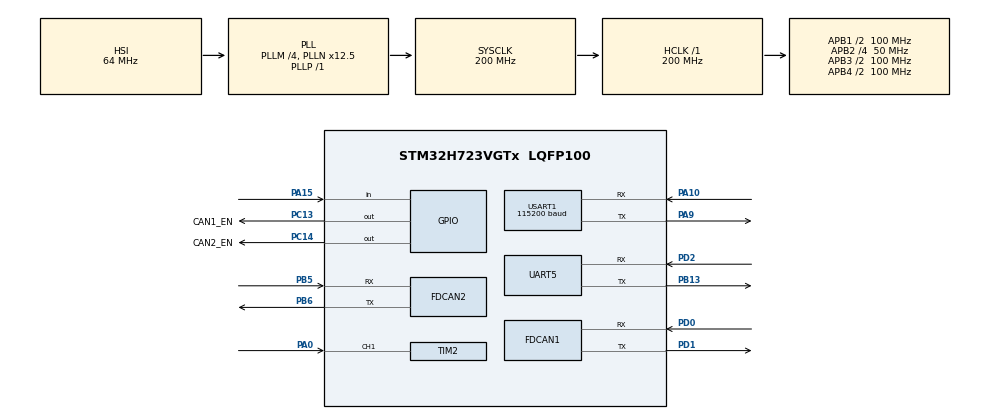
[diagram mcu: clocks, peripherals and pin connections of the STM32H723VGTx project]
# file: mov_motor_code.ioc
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CORTEX_M7.default_mode_Activation=1
Dma.Request0=USART1_RX
Dma.Request1=UART5_RX
Dma.UART5_RX.1.Direction=DMA_PERIPH_TO_MEMORY
Dma.UART5_RX.1.EventEnable=DISABLE
Dma.UART5_RX.1.FIFOMode=DMA_FIFOMODE_DISABLE
Dma.UART5_RX.1.Instance=DMA1_Stream1
Dma.UART5_RX.1.MemDataAlignment=DMA_MDATAALIGN_BYTE
Dma.UART5_RX.1.MemInc=DMA_MINC_ENABLE
Dma.UART5_RX.1.Mode=DMA_CIRCULAR
Dma.UART5_RX.1.PeriphDataAlignment=DMA_PDATAALIGN_BYTE
Dma.UART5_RX.1.PeriphInc=DMA_PINC_DISABLE
Dma.UART5_RX.1.Polarity=HAL_DMAMUX_REQ_GEN_RISING
Dma.UART5_RX.1.Priority=DMA_PRIORITY_LOW
Dma.UART5_RX.1.RequestNumber=1
Dma.UART5_RX.1.SignalID=NONE
Dma.UART5_RX.1.SyncEnable=DISABLE
Dma.UART5_RX.1.SyncPolarity=HAL_DMAMUX_SYNC_NO_EVENT
Dma.UART5_RX.1.SyncRequestNumber=1
Dma.UART5_RX.1.SyncSignalID=NONE
Dma.USART1_RX.0.Direction=DMA_PERIPH_TO_MEMORY
Dma.USART1_RX.0.EventEnable=DISABLE
Dma.USART1_RX.0.FIFOMode=DMA_FIFOMODE_DISABLE
Dma.USART1_RX.0.Instance=DMA1_Stream0
Dma.USART1_RX.0.MemDataAlignment=DMA_MDATAALIGN_BYTE
Dma.USART1_RX.0.MemInc=DMA_MINC_ENABLE
Dma.USART1_RX.0.Mode=DMA_CIRCULAR
Dma.USART1_RX.0.PeriphDataAlignment=DMA_PDATAALIGN_BYTE
Dma.USART1_RX.0.PeriphInc=DMA_PINC_DISABLE
Dma.USART1_RX.0.Polarity=HAL_DMAMUX_REQ_GEN_RISING
Dma.USART1_RX.0.Priority=DMA_PRIORITY_LOW
Dma.USART1_RX.0.RequestNumber=1
Dma.USART1_RX.0.SignalID=NONE
Dma.USART1_RX.0.SyncEnable=DISABLE
Dma.USART1_RX.0.SyncPolarity=HAL_DMAMUX_SYNC_NO_EVENT
Dma.USART1_RX.0.SyncRequestNumber=1
Dma.USART1_RX.0.SyncSignalID=NONE
FDCAN1.AutoRetransmission=ENABLE
FDCAN1.CalculateBaudRateNominal=500000
FDCAN1.CalculateTimeBitNominal=2000
FDCAN1.CalculateTimeQuantumNominal=100.0
FDCAN1.DataSyncJumpWidth=4
FDCAN1.DataTimeSeg1=2
FDCAN1.NominalPrescaler=10
FDCAN1.NominalSyncJumpWidth=1
FDCAN1.NominalTimeSeg1=15
FDCAN1.NominalTimeSeg2=4
FDCAN1.RxFifo0ElmtsNbr=3
FDCAN1.TxFifoQueueElmtsNbr=32
FDCAN2.AutoRetransmission=ENABLE
FDCAN2.CalculateBaudRateNominal=1000000
FDCAN2.CalculateTimeBitNominal=1000
FDCAN2.CalculateTimeQuantumNominal=50.0
FDCAN2.DataSyncJumpWidth=4
FDCAN2.MessageRAMOffset=1024
FDCAN2.NominalPrescaler=5
FDCAN2.NominalTimeSeg1=15
FDCAN2.NominalTimeSeg2=4
FDCAN2.RxFifo0ElmtsNbr=32
FDCAN2.TxFifoQueueElmtsNbr=32
Mcu.Family=STM32H7
Mcu.Name=STM32H723VGTx
Mcu.Package=LQFP100
NVIC.DMA1_Stream0_IRQn=true\:0\:0\:false\:false\:true\:false\:true\:true
NVIC.DMA1_Stream1_IRQn=true\:0\:0\:false\:false\:true\:false\:true\:true
NVIC.FDCAN1_IT0_IRQn=true\:0\:0\:false\:false\:true\:true\:true\:true
NVIC.FDCAN1_IT1_IRQn=true\:0\:0\:false\:false\:true\:true\:true\:true
NVIC.FDCAN2_IT0_IRQn=true\:0\:0\:true\:false\:true\:true\:true\:true
NVIC.PriorityGroup=NVIC_PRIORITYGROUP_4
NVIC.TIM15_IRQn=true\:0\:0\:false\:false\:true\:true\:true\:true
NVIC.TIM6_DAC_IRQn=true\:0\:0\:true\:false\:true\:true\:true\:true
NVIC.UART5_IRQn=true\:0\:0\:false\:false\:true\:true\:true\:true
NVIC.USART1_IRQn=true\:0\:0\:false\:false\:true\:true\:true\:true
PA0.Signal=S_TIM2_CH1_ETR
PA10.Mode=Asynchronous
PA10.Signal=USART1_RX
PA13(JTMS/SWDIO).Mode=Serial_Wire
PA13(JTMS/SWDIO).Signal=DEBUG_JTMS-SWDIO
PA14(JTCK/SWCLK).Mode=Serial_Wire
PA14(JTCK/SWCLK).Signal=DEBUG_JTCK-SWCLK
PA15(JTDI).GPIO_PuPd=GPIO_PULLUP
PA15(JTDI).Signal=GPIO_Input
PA9.Mode=Asynchronous
PA9.Signal=USART1_TX
PB13.Mode=Asynchronous
PB13.Signal=UART5_TX
PB5.Mode=FDCAN_Activate
PB5.Signal=FDCAN2_RX
PB6.Mode=FDCAN_Activate
PB6.Signal=FDCAN2_TX
PC13.GPIO_Label=CAN1_EN
PC13.Signal=GPIO_Output
PC14-OSC32_IN.GPIO_Label=CAN2_EN
PC14-OSC32_IN.Signal=GPIO_Output
PD0.Mode=FDCAN_Activate
PD0.Signal=FDCAN1_RX
PD1.Mode=FDCAN_Activate
PD1.Signal=FDCAN1_TX
PD2.Mode=Asynchronous
PD2.Signal=UART5_RX
PH0-OSC_IN.Mode=HSE-External-Oscillator
PH0-OSC_IN.Signal=RCC_OSC_IN
PH1-OSC_OUT.Mode=HSE-External-Oscillator
PH1-OSC_OUT.Signal=RCC_OSC_OUT
ProjectManager.HeapSize=0x200
ProjectManager.StackSize=0x400
ProjectManager.TargetToolchain=STM32CubeIDE
RCC.ADCFreq_Value=129000000
RCC.APB1Freq_Value=100000000
RCC.APB2Freq_Value=50000000
RCC.APB3Freq_Value=100000000
RCC.APB4Freq_Value=100000000
RCC.CortexFreq_Value=200000000
RCC.D1PPRE=RCC_APB3_DIV2
RCC.D2PPRE1=RCC_APB1_DIV2
RCC.D2PPRE2=RCC_APB2_DIV4
RCC.D3PPRE=RCC_APB4_DIV2
RCC.DIVM1=4
RCC.DIVN1=12
RCC.DIVP1=1
RCC.HCLKFreq_Value=200000000
RCC.PLL2FRACN=0
RCC.PLL3FRACN=0
RCC.PLLFRACN=4096
RCC.SYSCLKFreq_VALUE=200000000
RCC.SYSCLKSource=RCC_SYSCLKSOURCE_PLLCLK
RCC.USBFreq_Value=100000000
SH.S_TIM2_CH1_ETR.0=TIM2_CH1,Input_Capture1_from_TI1
TIM15.AutoReloadPreload=TIM_AUTORELOAD_PRELOAD_ENABLE
TIM15.Period=999
TIM15.Prescaler=4999
TIM2.AutoReloadPreload=TIM_AUTORELOAD_PRELOAD_ENABLE
TIM2.Channel-Input_Capture1_from_TI1=TIM_CHANNEL_1
TIM2.Period=99
TIM2.Prescaler=999
TIM6.AutoReloadPreload=TIM_AUTORELOAD_PRELOAD_ENABLE
TIM6.Period=99
TIM6.Prescaler=9999
USART1.BaudRate=115200
USART1.Parity=PARITY_NONE
USART1.RxPinLevelInvertParam=ADVFEATURE_RXINV_ENABLE
USART1.StopBits=STOPBITS_1
USART1.VirtualMode-Asynchronous=VM_ASYNC
USART1.WordLength=WORDLENGTH_8B
VP_MEMORYMAP_VS_MEMORYMAP.Mode=CurAppReg
VP_TIM15_VS_ClockSourceINT.Mode=Internal
VP_TIM2_VS_ClockSourceINT.Mode=Internal
VP_TIM6_VS_ClockSourceINT.Mode=Enable_Timer
board=custom

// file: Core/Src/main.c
/* USER CODE BEGIN Header */
/**
  ******************************************************************************
  * @file           : main.c
  * @brief          : Main program body
  ******************************************************************************
  * @attention
  *
  * Copyright (c) 2026 STMicroelectronics.
  * All rights reserved.
  *
  * This software is licensed under terms that can be found in the LICENSE file
  * in the root directory of this software component.
  * If no LICENSE file comes with this software, it is provided AS-IS.
  *
  ******************************************************************************
  */
/* USER CODE END Header */
#include "main.h"
#include "dma.h"
#include "fdcan.h"
#include "tim.h"
#include "usart.h"
#include "gpio.h"

/* USER CODE BEGIN Includes */
#include "key.h"
#include "motor.h"
#include "can.h"
#include "servo.h"
#include <stdio.h>
#include <string.h>
/* USER CODE END Includes */

/* USER CODE BEGIN PV */
static uint8_t current = 0;
static uint8_t last_key_state = 0; // 用于存储上一次按键状态，实现边沿检测

extern reporter Motor_Reporter_Data;
extern uint8_t query_id;
extern reporter Motor_Reporter_Cache[4];
/* USER CODE END PV */

void SystemClock_Config(void);
static void MPU_Config(void);

int main(void) {

  /* MPU Configuration--------------------------------------------------------*/
    MPU_Config();

    /* MCU Configuration--------------------------------------------------------*/

    /* Reset of all peripherals, Initializes the Flash interface and the Systick. */
    HAL_Init();

    /* Configure the system clock */
    SystemClock_Config();

    /* Initialize all configured peripherals */
    MX_GPIO_Init();
    MX_DMA_Init();
    MX_FDCAN1_Init();
    MX_USART1_UART_Init();
    MX_TIM2_Init();
    MX_TIM6_Init();
    MX_UART5_Init();
    MX_FDCAN2_Init();
    MX_TIM15_Init();
    /* USER CODE BEGIN 2 */
    // Motor_Driver_Init();
    // memset(Motor_Reporter_Cache, 0, sizeof(Motor_Reporter_Cache));

    can_bus_init(&hfdcan2);

    static rs06_t servo;
    rs06_init(&servo, &hfdcan2, 0x01, RS06_DEFAULT_HOST_ID);
    // rs06_zeroing_and_save(&servo);
    rs06_pp_goto(&servo, 6.0f, 2.0f, 10.0f);

    /* USER CODE END 2 */

    /* Infinite loop */
    /* USER CODE BEGIN WHILE */
    while(1) {
      // uint8_t key_now = Key_Scan();
      // if (key_now == 1 && last_key_state == 0)
      // {
      //     current = !current;
      // }
      // last_key_state = key_now;
      // if(current == 0)
      // {
      //   Motor_Speed_Control_Smooth(0,0x01);

      // }
      // else
      // {
      //    Motor_Speed_Control_Smooth(100,0x01);

      // }

      /* USER CODE END WHILE */

    }
}

void SystemClock_Config(void) {
    RCC_OscInitTypeDef RCC_OscInitStruct = { 0 };
    RCC_ClkInitTypeDef RCC_ClkInitStruct = { 0 };

    /** Supply configuration update enable
    */
    HAL_PWREx_ConfigSupply(PWR_LDO_SUPPLY);

    /** Configure the main internal regulator output voltage
    */
    __HAL_PWR_VOLTAGESCALING_CONFIG(PWR_REGULATOR_VOLTAGE_SCALE1);

    while(!__HAL_PWR_GET_FLAG(PWR_FLAG_VOSRDY)) { }

    /** Initializes the RCC Oscillators according to the specified parameters
    * in the RCC_OscInitTypeDef structure.
    */
    RCC_OscInitStruct.OscillatorType = RCC_OSCILLATORTYPE_HSI;
    RCC_OscInitStruct.HSIState = RCC_HSI_DIV1;
    RCC_OscInitStruct.HSICalibrationValue = 64;
    RCC_OscInitStruct.PLL.PLLState = RCC_PLL_ON;
    RCC_OscInitStruct.PLL.PLLSource = RCC_PLLSOURCE_HSI;
    RCC_OscInitStruct.PLL.PLLM = 4;
    RCC_OscInitStruct.PLL.PLLN = 12;
    RCC_OscInitStruct.PLL.PLLP = 1;
    RCC_OscInitStruct.PLL.PLLQ = 2;
    RCC_OscInitStruct.PLL.PLLR = 2;
    RCC_OscInitStruct.PLL.PLLRGE = RCC_PLL1VCIRANGE_3;
    RCC_OscInitStruct.PLL.PLLVCOSEL = RCC_PLL1VCOWIDE;
    RCC_OscInitStruct.PLL.PLLFRACN = 4096;
    if(HAL_RCC_OscConfig(&RCC_OscInitStruct) != HAL_OK) {
        Error_Handler();
    }

    /** Initializes the CPU, AHB and APB buses clocks
    */
    RCC_ClkInitStruct.ClockType = RCC_CLOCKTYPE_HCLK | RCC_CLOCKTYPE_SYSCLK
        | RCC_CLOCKTYPE_PCLK1 | RCC_CLOCKTYPE_PCLK2
        | RCC_CLOCKTYPE_D3PCLK1 | RCC_CLOCKTYPE_D1PCLK1;
    RCC_ClkInitStruct.SYSCLKSource = RCC_SYSCLKSOURCE_PLLCLK;
    RCC_ClkInitStruct.SYSCLKDivider = RCC_SYSCLK_DIV1;
    RCC_ClkInitStruct.AHBCLKDivider = RCC_HCLK_DIV1;
    RCC_ClkInitStruct.APB3CLKDivider = RCC_APB3_DIV2;
    RCC_ClkInitStruct.APB1CLKDivider = RCC_APB1_DIV2;
    RCC_ClkInitStruct.APB2CLKDivider = RCC_APB2_DIV4;
    RCC_ClkInitStruct.APB4CLKDivider = RCC_APB4_DIV2;

    if(HAL_RCC_ClockConfig(&RCC_ClkInitStruct, FLASH_LATENCY_2) != HAL_OK) {
        Error_Handler();
    }
}

 /* MPU Configuration */

void MPU_Config(void) {
    MPU_Region_InitTypeDef MPU_InitStruct = { 0 };

    /* Disables the MPU */
    HAL_MPU_Disable();

    /** Initializes and configures the Region and the memory to be protected
    */
    MPU_InitStruct.Enable = MPU_REGION_ENABLE;
    MPU_InitStruct.Number = MPU_REGION_NUMBER0;
    MPU_InitStruct.BaseAddress = 0x0;
    MPU_InitStruct.Size = MPU_REGION_SIZE_4GB;
    MPU_InitStruct.SubRegionDisable = 0x87;
    MPU_InitStruct.TypeExtField = MPU_TEX_LEVEL0;
    MPU_InitStruct.AccessPermission = MPU_REGION_NO_ACCESS;
    MPU_InitStruct.DisableExec = MPU_INSTRUCTION_ACCESS_DISABLE;
    MPU_InitStruct.IsShareable = MPU_ACCESS_SHAREABLE;
    MPU_InitStruct.IsCacheable = MPU_ACCESS_NOT_CACHEABLE;
    MPU_InitStruct.IsBufferable = MPU_ACCESS_NOT_BUFFERABLE;

    HAL_MPU_ConfigRegion(&MPU_InitStruct);
    /* Enables the MPU */
    HAL_MPU_Enable(MPU_PRIVILEGED_DEFAULT);

}

void Error_Handler(void) {
    __disable_irq();
    while(1) {
    }
}
